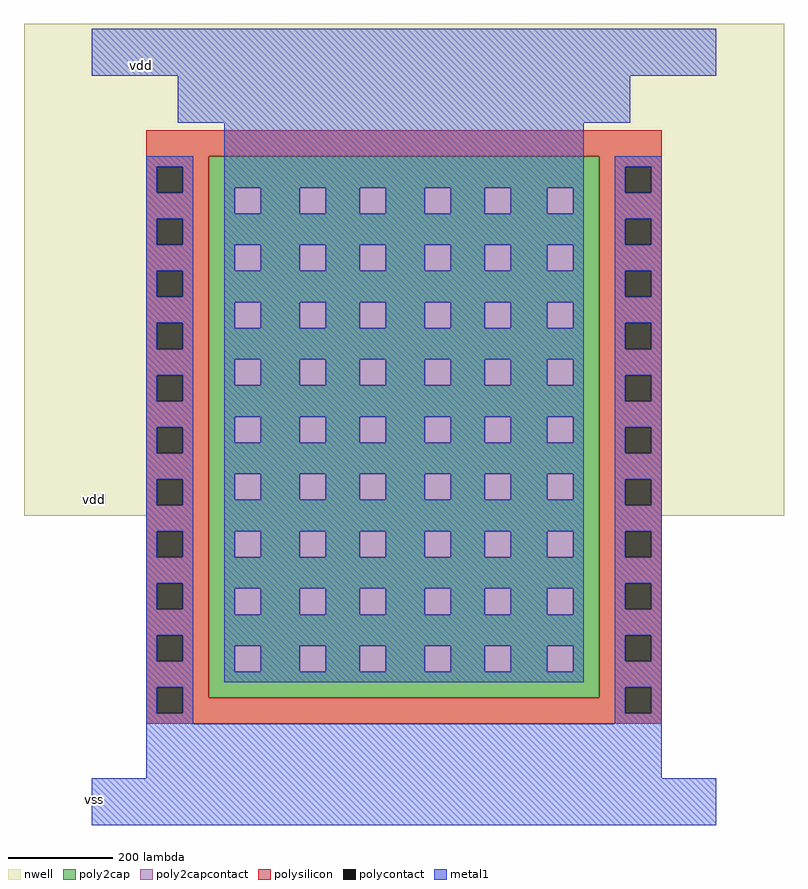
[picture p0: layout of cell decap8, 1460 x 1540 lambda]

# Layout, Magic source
magic
tech amic5n
<< nwell >>
rect -130 550 1330 1495
rect 105 150 1095 550
<< polysilicon >>
rect 105 1240 1095 1290
rect 105 1220 225 1240
rect 105 1170 125 1220
rect 175 1170 225 1220
rect 975 1220 1095 1240
rect 105 1120 225 1170
rect 975 1170 1025 1220
rect 1075 1170 1095 1220
rect 105 1070 125 1120
rect 175 1070 225 1120
rect 975 1120 1095 1170
rect 975 1070 1025 1120
rect 1075 1070 1095 1120
rect 105 1020 225 1070
rect 975 1020 1095 1070
rect 105 970 125 1020
rect 175 970 225 1020
rect 105 920 225 970
rect 975 970 1025 1020
rect 1075 970 1095 1020
rect 105 870 125 920
rect 175 870 225 920
rect 975 920 1095 970
rect 105 820 225 870
rect 975 870 1025 920
rect 1075 870 1095 920
rect 105 770 125 820
rect 175 770 225 820
rect 975 820 1095 870
rect 105 720 225 770
rect 975 770 1025 820
rect 1075 770 1095 820
rect 105 670 125 720
rect 175 670 225 720
rect 975 720 1095 770
rect 105 620 225 670
rect 975 670 1025 720
rect 1075 670 1095 720
rect 105 570 125 620
rect 175 570 225 620
rect 975 620 1095 670
rect 105 520 225 570
rect 975 570 1025 620
rect 1075 570 1095 620
rect 975 520 1095 570
rect 105 470 125 520
rect 175 470 225 520
rect 975 470 1025 520
rect 1075 470 1095 520
rect 105 420 225 470
rect 105 370 125 420
rect 175 370 225 420
rect 975 420 1095 470
rect 105 320 225 370
rect 975 370 1025 420
rect 1075 370 1095 420
rect 105 270 125 320
rect 175 270 225 320
rect 975 320 1095 370
rect 105 220 225 270
rect 975 270 1025 320
rect 1075 270 1095 320
rect 105 170 125 220
rect 175 200 225 220
rect 975 220 1095 270
rect 975 200 1025 220
rect 175 170 1025 200
rect 1075 170 1095 220
rect 105 150 1095 170
<< polycontact >>
rect 125 1170 175 1220
rect 1025 1170 1075 1220
rect 125 1070 175 1120
rect 1025 1070 1075 1120
rect 125 970 175 1020
rect 1025 970 1075 1020
rect 125 870 175 920
rect 1025 870 1075 920
rect 125 770 175 820
rect 1025 770 1075 820
rect 125 670 175 720
rect 1025 670 1075 720
rect 125 570 175 620
rect 1025 570 1075 620
rect 125 470 175 520
rect 1025 470 1075 520
rect 125 370 175 420
rect 1025 370 1075 420
rect 125 270 175 320
rect 1025 270 1075 320
rect 125 170 175 220
rect 1025 170 1075 220
<< poly2cap >>
rect 225 1180 975 1240
rect 225 1130 275 1180
rect 325 1130 400 1180
rect 450 1130 515 1180
rect 565 1130 640 1180
rect 690 1130 755 1180
rect 805 1130 875 1180
rect 925 1130 975 1180
rect 225 1070 975 1130
rect 225 1020 275 1070
rect 325 1020 400 1070
rect 450 1020 515 1070
rect 565 1020 640 1070
rect 690 1020 755 1070
rect 805 1020 875 1070
rect 925 1020 975 1070
rect 225 960 975 1020
rect 225 910 275 960
rect 325 910 400 960
rect 450 910 515 960
rect 565 910 640 960
rect 690 910 755 960
rect 805 910 875 960
rect 925 910 975 960
rect 225 850 975 910
rect 225 800 275 850
rect 325 800 400 850
rect 450 800 515 850
rect 565 800 640 850
rect 690 800 755 850
rect 805 800 875 850
rect 925 800 975 850
rect 225 740 975 800
rect 225 690 275 740
rect 325 690 400 740
rect 450 690 515 740
rect 565 690 640 740
rect 690 690 755 740
rect 805 690 875 740
rect 925 690 975 740
rect 225 630 975 690
rect 225 580 275 630
rect 325 580 400 630
rect 450 580 515 630
rect 565 580 640 630
rect 690 580 755 630
rect 805 580 875 630
rect 925 580 975 630
rect 225 520 975 580
rect 225 470 275 520
rect 325 470 400 520
rect 450 470 515 520
rect 565 470 640 520
rect 690 470 755 520
rect 805 470 875 520
rect 925 470 975 520
rect 225 410 975 470
rect 225 360 275 410
rect 325 360 400 410
rect 450 360 515 410
rect 565 360 640 410
rect 690 360 755 410
rect 805 360 875 410
rect 925 360 975 410
rect 225 300 975 360
rect 225 250 275 300
rect 325 250 400 300
rect 450 250 515 300
rect 565 250 640 300
rect 690 250 755 300
rect 805 250 875 300
rect 925 250 975 300
rect 225 200 975 250
<< poly2capcontact >>
rect 275 1130 325 1180
rect 400 1130 450 1180
rect 515 1130 565 1180
rect 640 1130 690 1180
rect 755 1130 805 1180
rect 875 1130 925 1180
rect 275 1020 325 1070
rect 400 1020 450 1070
rect 515 1020 565 1070
rect 640 1020 690 1070
rect 755 1020 805 1070
rect 875 1020 925 1070
rect 275 910 325 960
rect 400 910 450 960
rect 515 910 565 960
rect 640 910 690 960
rect 755 910 805 960
rect 875 910 925 960
rect 275 800 325 850
rect 400 800 450 850
rect 515 800 565 850
rect 640 800 690 850
rect 755 800 805 850
rect 875 800 925 850
rect 275 690 325 740
rect 400 690 450 740
rect 515 690 565 740
rect 640 690 690 740
rect 755 690 805 740
rect 875 690 925 740
rect 275 580 325 630
rect 400 580 450 630
rect 515 580 565 630
rect 640 580 690 630
rect 755 580 805 630
rect 875 580 925 630
rect 275 470 325 520
rect 400 470 450 520
rect 515 470 565 520
rect 640 470 690 520
rect 755 470 805 520
rect 875 470 925 520
rect 275 360 325 410
rect 400 360 450 410
rect 515 360 565 410
rect 640 360 690 410
rect 755 360 805 410
rect 875 360 925 410
rect 275 250 325 300
rect 400 250 450 300
rect 515 250 565 300
rect 640 250 690 300
rect 755 250 805 300
rect 875 250 925 300
<< metal1 >>
rect 0 1395 1200 1485
rect 165 1305 1035 1395
rect 105 1220 195 1240
rect 105 1170 125 1220
rect 175 1170 195 1220
rect 105 1120 195 1170
rect 105 1070 125 1120
rect 175 1070 195 1120
rect 105 1020 195 1070
rect 105 970 125 1020
rect 175 970 195 1020
rect 105 920 195 970
rect 105 870 125 920
rect 175 870 195 920
rect 105 820 195 870
rect 105 770 125 820
rect 175 770 195 820
rect 105 720 195 770
rect 105 670 125 720
rect 175 670 195 720
rect 105 620 195 670
rect 105 570 125 620
rect 175 570 195 620
rect 105 520 195 570
rect 105 470 125 520
rect 175 470 195 520
rect 105 420 195 470
rect 105 370 125 420
rect 175 370 195 420
rect 105 320 195 370
rect 105 270 125 320
rect 175 270 195 320
rect 105 220 195 270
rect 255 1180 945 1305
rect 255 1130 275 1180
rect 325 1130 400 1180
rect 450 1130 515 1180
rect 565 1130 640 1180
rect 690 1130 755 1180
rect 805 1130 875 1180
rect 925 1130 945 1180
rect 255 1070 945 1130
rect 255 1020 275 1070
rect 325 1020 400 1070
rect 450 1020 515 1070
rect 565 1020 640 1070
rect 690 1020 755 1070
rect 805 1020 875 1070
rect 925 1020 945 1070
rect 255 960 945 1020
rect 255 910 275 960
rect 325 910 400 960
rect 450 910 515 960
rect 565 910 640 960
rect 690 910 755 960
rect 805 910 875 960
rect 925 910 945 960
rect 255 850 945 910
rect 255 800 275 850
rect 325 800 400 850
rect 450 800 515 850
rect 565 800 640 850
rect 690 800 755 850
rect 805 800 875 850
rect 925 800 945 850
rect 255 740 945 800
rect 255 690 275 740
rect 325 690 400 740
rect 450 690 515 740
rect 565 690 640 740
rect 690 690 755 740
rect 805 690 875 740
rect 925 690 945 740
rect 255 630 945 690
rect 255 580 275 630
rect 325 580 400 630
rect 450 580 515 630
rect 565 580 640 630
rect 690 580 755 630
rect 805 580 875 630
rect 925 580 945 630
rect 255 520 945 580
rect 255 470 275 520
rect 325 470 400 520
rect 450 470 515 520
rect 565 470 640 520
rect 690 470 755 520
rect 805 470 875 520
rect 925 470 945 520
rect 255 410 945 470
rect 255 360 275 410
rect 325 360 400 410
rect 450 360 515 410
rect 565 360 640 410
rect 690 360 755 410
rect 805 360 875 410
rect 925 360 945 410
rect 255 300 945 360
rect 255 250 275 300
rect 325 250 400 300
rect 450 250 515 300
rect 565 250 640 300
rect 690 250 755 300
rect 805 250 875 300
rect 925 250 945 300
rect 255 230 945 250
rect 1005 1220 1095 1240
rect 1005 1170 1025 1220
rect 1075 1170 1095 1220
rect 1005 1120 1095 1170
rect 1005 1070 1025 1120
rect 1075 1070 1095 1120
rect 1005 1020 1095 1070
rect 1005 970 1025 1020
rect 1075 970 1095 1020
rect 1005 920 1095 970
rect 1005 870 1025 920
rect 1075 870 1095 920
rect 1005 820 1095 870
rect 1005 770 1025 820
rect 1075 770 1095 820
rect 1005 720 1095 770
rect 1005 670 1025 720
rect 1075 670 1095 720
rect 1005 620 1095 670
rect 1005 570 1025 620
rect 1075 570 1095 620
rect 1005 520 1095 570
rect 1005 470 1025 520
rect 1075 470 1095 520
rect 1005 420 1095 470
rect 1005 370 1025 420
rect 1075 370 1095 420
rect 1005 320 1095 370
rect 1005 270 1025 320
rect 1075 270 1095 320
rect 105 170 125 220
rect 175 170 195 220
rect 105 150 195 170
rect 1005 220 1095 270
rect 1005 170 1025 220
rect 1075 170 1095 220
rect 1005 150 1095 170
rect 105 45 1095 150
rect 0 -45 1200 45
<< labels >>
flabel metal1 s 95 1415 95 1415 2 FreeSans 400 0 0 0 vdd
port 0 ne
flabel metal1 s 5 5 5 5 2 FreeSans 400 0 0 0 vss
port 1 ne
flabel nwell 5 580 5 580 2 FreeSans 400 0 0 0 vdd
<< properties >>
string LEFsite core
string LEFclass CORE
string FIXED_BBOX 0 0 1200 1440
string LEFsymmetry X Y
<< end >>
